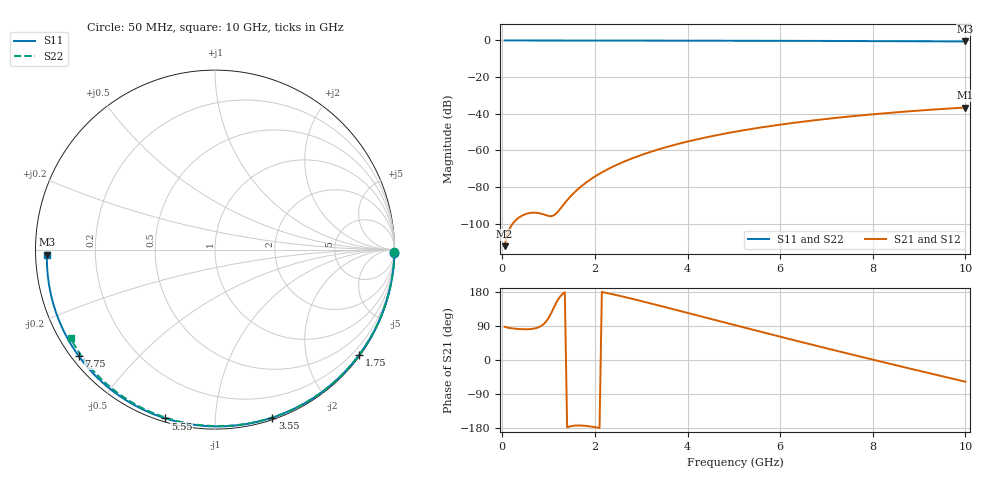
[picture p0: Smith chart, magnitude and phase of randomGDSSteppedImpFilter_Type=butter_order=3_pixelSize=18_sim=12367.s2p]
! freq	dB(S11)	phase(S11)	dB(S12)	phase(S12)
!  dB(S21)	phase(S21)	dB(S22)	phase(S22)
!S-par simulation data
#  GHz  S  DB  R 50
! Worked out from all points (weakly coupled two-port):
!   200 points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, 50 MHz to 10 GHz, reference 50 ohm
!   highest |S21| = -36.61 dB at 10 GHz (marker M1); lowest = -112.2 dB at 50 MHz (marker M2)
!   lowest |S11| = -0.6 dB at 10 GHz (marker M3), VSWR 30.74, Z = 1.63 - j0.733 ohm
!   |S11| at or under -10 dB: nowhere
!   |S22| runs from -0.5 to 0.0 dB; largest |S21 - S12| = 0
!   S11 on the Smith chart (normalised r, x): 50 MHz: open; 1.75 GHz: 0.03, -3.05; 3.55 GHz: 0.02, -1.40; 5.55 GHz: 0.02, -0.75; 7.75 GHz: 0.02, -0.34; 10 GHz: 0.03, -0.01
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0.05  -0.00 -1.1  -112.25 87.8  -112.25 87.8  -0.00 -0.9
0.4  -0.01 -8.5  -95.96 81.5  -95.96 81.5  -0.01 -6.9
0.8  -0.02 -16.8  -94.27 87.3  -94.27 87.3  -0.02 -13.7
1.2  -0.03 -25.1  -93.46 158.9  -93.46 158.9  -0.03 -20.5
1.65  -0.04 -34.3  -80.77 -172.8  -80.77 -172.8  -0.04 -28.0
1.7  -0.04 -35.3  -79.70 -172.9  -79.70 -172.9  -0.04 -28.9
1.75  -0.05 -36.3  -78.68 -173.3  -78.68 -173.3  -0.04 -29.7
2.05  -0.05 -42.3  -73.47 -178.2  -73.47 -178.2  -0.04 -34.7
2.25  -0.06 -46.3  -70.63 177.0  -70.63 177.0  -0.05 -38.0
2.45  -0.06 -50.2  -68.13 171.7  -68.13 171.7  -0.05 -41.2
2.9  -0.08 -58.9  -63.43 158.6  -63.43 158.6  -0.06 -48.5
3.4  -0.09 -68.4  -59.24 143.2  -59.24 143.2  -0.07 -56.4
3.55  -0.09 -71.2  -58.14 138.5  -58.14 138.5  -0.08 -58.7
4.3  -0.12 -84.8  -53.43 114.9  -53.43 114.9  -0.10 -70.2
5.05  -0.15 -97.9  -49.70 91.2  -49.70 91.2  -0.12 -81.4
5.55  -0.17 -106.4  -47.61 75.5  -47.61 75.5  -0.14 -88.6
6.1  -0.20 -115.5  -45.59 58.4  -45.59 58.4  -0.17 -96.4
6.7  -0.24 -125.2  -43.67 40.0  -43.67 40.0  -0.20 -104.7
7.75  -0.32 -142.0  -40.87 8.3  -40.87 8.3  -0.27 -118.8
8.35  -0.38 -151.5  -39.53 -9.4  -39.53 -9.4  -0.32 -126.7
9.2  -0.47 -165.2  -37.89 -34.2  -37.89 -34.2  -0.41 -137.9
10  -0.57 -178.3  -36.61 -57.3  -36.61 -57.3  -0.50 -148.4
